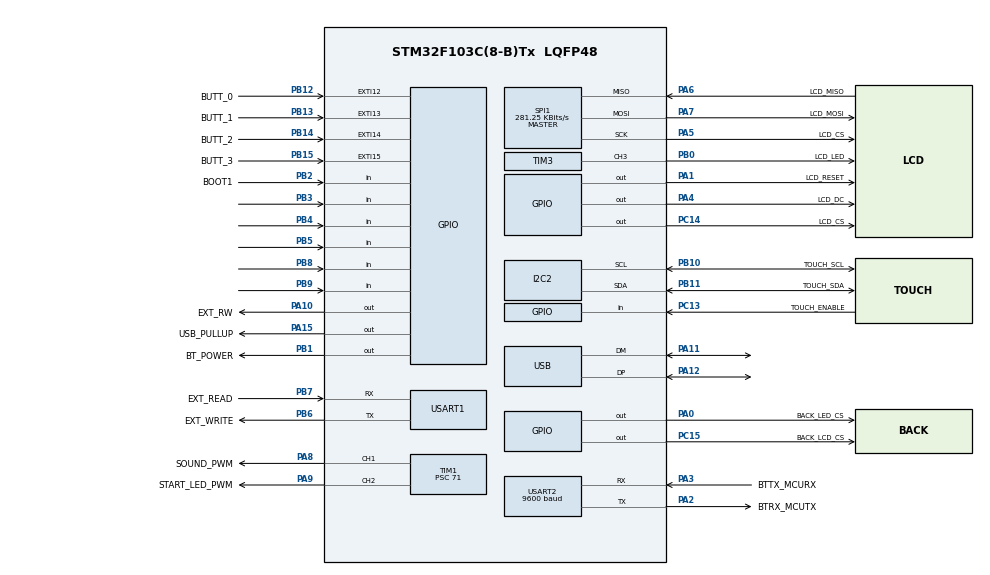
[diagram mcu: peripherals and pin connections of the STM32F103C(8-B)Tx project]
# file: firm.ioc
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Mcu.Family=STM32F1
PA6.Mode=Full_Duplex_Master
USB_DEVICE.CLASS_NAME_FS=CUSTOM_HID
SPI1.VirtualType=VM_MASTER
PB10.Mode=I2C
TIM3.Channel-Output\ Compare3\ CH3=TIM_CHANNEL_3
PB14.GPIO_Label=BUTT_2
VP_USB_DEVICE_VS_USB_DEVICE_CUSTOM_HID_FS.Mode=CUSTOM_HID_FS
PA11.Mode=Device
PA6.GPIO_Label=LCD_MISO
PB0.GPIO_Label=LCD_LED
PB6.GPIO_Label=EXT_WRITE
TIM1.Pulse-PWM\ Generation1\ CH1=499
PB13.GPIO_Label=BUTT_1
PB11.Signal=I2C2_SDA
PB13.Signal=GPXTI13
PB15.Signal=GPXTI15
PC15-OSC32_OUT.GPIO_Label=BACK_LCD_CS
RCC.SYSCLKSource=RCC_SYSCLKSOURCE_PLLCLK
ProjectManager.StackSize=0x400
PD1-OSC_OUT.Signal=RCC_OSC_OUT
USB_DEVICE.MANUFACTURER_STRING=DiMomite
PA15.GPIO_Label=USB_PULLUP
PA12.Signal=USB_DP
TIM1.Prescaler=71
USB_DEVICE.PID_CUSTOMHID_FS=0x5750
SPI1.Direction=SPI_DIRECTION_2LINES
PB1.GPIO_PuPd=GPIO_PULLUP
RCC.HCLKFreq_Value=72000000
RCC.APB2TimFreq_Value=72000000
TIM3.Period=3124
PB6.Signal=USART1_TX
PB6.Mode=Asynchronous
SPI1.CalculateBaudRate=281.25 KBits/s
RCC.AHBFreq_Value=72000000
NVIC.EXTI15_10_IRQn=true\:1\:0\:true\:false\:true\:true\:true
USB_DEVICE.PRODUCT_STRING_CUSTOMHID_FS=BR Button System
PB2.Signal=GPIO_Input
RCC.PLLMUL=RCC_PLL_MUL9
PB12.GPIO_Label=BUTT_0
PB3.GPIO_PuPd=GPIO_PULLUP
USB_DEVICE.USBD_SELF_POWERED=0
TIM1.Channel-PWM\ Generation1\ CH1=TIM_CHANNEL_1
PA14.Mode=Serial_Wire
TIM3.Prescaler=179
PB1.GPIO_Label=BT_POWER
PA10.GPIO_Label=EXT_RW
PB7.Signal=USART1_RX
PA8.Signal=S_TIM1_CH1
USB_DEVICE.CONFIGURATION_STRING_CUSTOMHID_FS=br main cfg
PA15.GPIO_ModeDefaultOutputPP=GPIO_MODE_OUTPUT_OD
PB2.GPIO_PuPd=GPIO_PULLUP
VP_TIM1_VS_ClockSourceINT.Mode=Internal
PB7.GPIO_Label=EXT_READ
Mcu.Package=LQFP48
PB9.Signal=GPIO_Input
PB14.GPIO_PuPd=GPIO_PULLUP
PB1.Signal=GPIO_Output
PA6.Signal=SPI1_MISO
PB15.GPIO_PuPd=GPIO_PULLUP
TIM1.Pulse-PWM\ Generation2\ CH2=300
USART2.VirtualMode=VM_ASYNC
PA2.GPIO_Label=BTRX_MCUTX
PA10.Signal=GPIO_Output
PB9.GPIO_PuPd=GPIO_PULLUP
PA15.Signal=GPIO_Output
RCC.APB1TimFreq_Value=72000000
PC14-OSC32_IN.GPIO_Label=LCD_CS
USB_DEVICE.USBD_CUSTOMHID_OUTREPORT_BUF_SIZE=64
TIM1.Period=999
SPI1.BaudRatePrescaler=SPI_BAUDRATEPRESCALER_256
PA4.GPIO_Label=LCD_DC
PB4.Signal=GPIO_Input
PA3.Signal=USART2_RX
PA5.Mode=Full_Duplex_Master
PB14.GPIO_ModeDefaultEXTI=GPIO_MODE_IT_FALLING
USB_DEVICE.CUSTOM_HID_FS_BINTERVAL=20
PA7.Mode=Full_Duplex_Master
PD1-OSC_OUT.Mode=HSE-External-Oscillator
USB_DEVICE.INTERFACE_STRING_CUSTOMHID_FS=br main if
USB_DEVICE.USBD_CUSTOM_HID_REPORT_DESC_SIZE=29
USB_DEVICE.VirtualModeFS=Custom_Hid_FS
PA9.GPIO_Label=START_LED_PWM
PB8.GPIO_PuPd=GPIO_PULLUP
PB11.GPIO_Label=TOUCH_SDA
PC13-TAMPER-RTC.Signal=GPIO_Input
RCC.USBPrescaler=RCC_USBCLKSOURCE_PLL_DIV1_5
PD0-OSC_IN.Signal=RCC_OSC_IN
RCC.APB1CLKDivider=RCC_HCLK_DIV2
PC14-OSC32_IN.Signal=GPIO_Output
SH.S_TIM3_CH3.0=TIM3_CH3,Output Compare3 CH3
PB13.GPIO_ModeDefaultEXTI=GPIO_MODE_IT_FALLING
NVIC.USART2_IRQn=true\:0\:0\:false\:false\:true\:true\:true
USART2.BaudRate=9600
PA0-WKUP.GPIO_Label=BACK_LED_CS
PA0-WKUP.Signal=GPIO_Output
PA3.Mode=Asynchronous
PA13.Signal=SYS_JTMS-SWDIO
PA8.GPIO_Label=SOUND_PWM
SH.S_TIM1_CH1.0=TIM1_CH1,PWM Generation1 CH1
PB11.Mode=I2C
USB_DEVICE.VID=0x483
ProjectManager.TargetToolchain=Makefile
PB10.GPIO_Label=TOUCH_SCL
PA9.Signal=S_TIM1_CH2
TIM1.Channel-PWM\ Generation2\ CH2=TIM_CHANNEL_2
PB4.GPIO_PuPd=GPIO_PULLUP
RCC.USBFreq_Value=48000000
PC15-OSC32_OUT.Signal=GPIO_Output
PA1.Signal=GPIO_Output
PD0-OSC_IN.Mode=HSE-External-Oscillator
PB10.Signal=I2C2_SCL
PB14.Signal=GPXTI14
PA5.Signal=SPI1_SCK
PB15.GPIO_ModeDefaultEXTI=GPIO_MODE_IT_FALLING
board=custom
PC13-TAMPER-RTC.GPIO_Label=TOUCH_ENABLE
NVIC.TIM3_IRQn=true\:0\:0\:false\:false\:true\:true\:true
PB13.GPIO_PuPd=GPIO_PULLUP
RCC.APB2Freq_Value=72000000
PB15.GPIO_Label=BUTT_3
SH.S_TIM1_CH2.0=TIM1_CH2,PWM Generation2 CH2
TIM3.OCMode_3=TIM_OCMODE_ACTIVE
SPI1.Mode=SPI_MODE_MASTER
NVIC.USB_LP_CAN1_RX0_IRQn=true\:0\:0\:false\:false\:true\:false\:true
PA1.GPIO_Label=LCD_RESET
PA13.Mode=Serial_Wire
Mcu.Name=STM32F103C(8-B)Tx
PA2.Signal=USART2_TX
PB3.Signal=GPIO_Input
PA4.Signal=GPIO_Output
RCC.SYSCLKFreq_VALUE=72000000
PB5.Signal=GPIO_Input
PA7.GPIO_Label=LCD_MOSI
PA12.Mode=Device
PA5.GPIO_Label=LCD_CS
PB5.GPIO_PuPd=GPIO_PULLUP
USART1.VirtualMode=VM_ASYNC
PA11.Signal=USB_DM
PB7.Mode=Asynchronous
PA14.Signal=SYS_JTCK-SWCLK
PB2.GPIO_Label=BOOT1
ProjectManager.HeapSize=0x200
PB12.GPIO_ModeDefaultEXTI=GPIO_MODE_IT_FALLING
NVIC.PriorityGroup=NVIC_PRIORITYGROUP_4
PA15.GPIO_PuPd=GPIO_PULLUP
PA2.Mode=Asynchronous
PB8.Signal=GPIO_Input
PB1.GPIO_ModeDefaultOutputPP=GPIO_MODE_OUTPUT_OD
TIM3.TIM_MasterOutputTrigger=TIM_TRGO_RESET
PB12.GPIO_PuPd=GPIO_PULLUP
RCC.APB1Freq_Value=36000000
PB0.Signal=S_TIM3_CH3
USB_DEVICE.VirtualMode=CustomHid
PB12.Signal=GPXTI12
PA3.GPIO_Label=BTTX_MCURX
PA7.Signal=SPI1_MOSI

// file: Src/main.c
/* USER CODE BEGIN Header */
/**
  ******************************************************************************
  * @file           : main.c
  * @brief          : Main program body
  ******************************************************************************
  * @attention
  *
  * <h2><center>&copy; Copyright (c) 2020 STMicroelectronics.
  * All rights reserved.</center></h2>
  *
  * This software component is licensed by ST under Ultimate Liberty license
  * SLA0044, the "License"; You may not use this file except in compliance with
  * the License. You may obtain a copy of the License at:
  *                             www.st.com/SLA0044
  *
  ******************************************************************************
  */
/* USER CODE END Header */

#include "main.h"
#include "usb_device.h"

/* USER CODE BEGIN Includes */
#include "DAL/MainEventLoop.h"
#include "DAL/TouchControlsCtrl.h"

#include "Comm/ConnectionCtrl.h"
#include "Comm/Protocol.h"

/* USER CODE END Includes */

/* USER CODE BEGIN PV */
BtCtrl_t btCtrlInstance;
ButtonsCtrl_t buttonsCtrlInstance;
DisplayCtrl_t displayCtrlInstance;
EntertainmentCtrl_t entCtrlInstance;
PlayersIndicatorCtrl_t playersIndicatorCtrlInstance;
PreciseTimer_t preciseTimerInstance;
TouchControlsCtrl_t touchControlsCtrlInstance;
UsbCtrl_t usbCtrlInstance;

MainEventLoop_t mainEventLoopInstance = {
    .btCtrl = &btCtrlInstance,
    .buttonsCtrl = &buttonsCtrlInstance,
    .displayCtrl = &displayCtrlInstance,
    .entCtrl = &entCtrlInstance,
    .playersIndicatorCtrl = &playersIndicatorCtrlInstance,
    .preciseTimer = &preciseTimerInstance,
    .touchControlsCtrl = &touchControlsCtrlInstance,
    .usbCtrl = &usbCtrlInstance,
}; // main singleton

ConnectionCtrl_t connCtrlInstance;

/* USER CODE END PV */

void SystemClock_Config(void);
static void MX_GPIO_Init(void);
static void MX_I2C2_Init(void);
static void MX_SPI1_Init(void);
static void MX_TIM1_Init(void);
static void MX_USART1_UART_Init(void);
static void MX_USART2_UART_Init(void);
static void MX_TIM3_Init(void);

static void dataHandler(int8_t* data) {};

int main(void)
{

  /* MCU Configuration--------------------------------------------------------*/

  /* Reset of all peripherals, Initializes the Flash interface and the Systick. */
  HAL_Init();

  /* Configure the system clock */
  SystemClock_Config();

  /* Initialize all configured peripherals */
  MX_GPIO_Init();
  MX_I2C2_Init();
  MX_SPI1_Init();
  MX_TIM1_Init();
  MX_USART1_UART_Init();
  MX_USART2_UART_Init();
  MX_USB_DEVICE_Init();
  MX_TIM3_Init();

  /* Infinite loop */
  /* USER CODE BEGIN WHILE */
  LL_TIM_EnableCounter(TIM1);
  LL_TIM_EnableAutomaticOutput(TIM1); // very important line, spent 2 hours on it

  LL_SPI_Enable(SPI1);
  LL_TIM_EnableCounter(TIM3);
  LL_TIM_EnableIT_UPDATE(TIM3);

  __enable_irq();

  mainEventLoop_init(&mainEventLoopInstance);
  usbctrl_connect(&usbCtrlInstance);
  btctrl_connect(&btCtrlInstance);

  display_init(&displayCtrlInstance);
  display_clearAll(&displayCtrlInstance);

  conn_initConnectionCtrl(&connCtrlInstance, &btCtrlInstance, dataHandler);

  mainEventLoop_run(&mainEventLoopInstance);

  while (1)
  {
    /* USER CODE END WHILE */

  }
}

void SystemClock_Config(void)
{
  LL_FLASH_SetLatency(LL_FLASH_LATENCY_2);

   if(LL_FLASH_GetLatency() != LL_FLASH_LATENCY_2)
  {
    Error_Handler();
  }
  LL_RCC_HSE_Enable();

   /* Wait till HSE is ready */
  while(LL_RCC_HSE_IsReady() != 1)
  {

  }
  LL_RCC_PLL_ConfigDomain_SYS(LL_RCC_PLLSOURCE_HSE_DIV_1, LL_RCC_PLL_MUL_9);
  LL_RCC_PLL_Enable();

   /* Wait till PLL is ready */
  while(LL_RCC_PLL_IsReady() != 1)
  {

  }
  LL_RCC_SetAHBPrescaler(LL_RCC_SYSCLK_DIV_1);
  LL_RCC_SetAPB1Prescaler(LL_RCC_APB1_DIV_2);
  LL_RCC_SetAPB2Prescaler(LL_RCC_APB2_DIV_1);
  LL_RCC_SetSysClkSource(LL_RCC_SYS_CLKSOURCE_PLL);

   /* Wait till System clock is ready */
  while(LL_RCC_GetSysClkSource() != LL_RCC_SYS_CLKSOURCE_STATUS_PLL)
  {

  }
  LL_SetSystemCoreClock(72000000);

   /* Update the time base */
  if (HAL_InitTick (TICK_INT_PRIORITY) != HAL_OK)
  {
    Error_Handler();
  };
  LL_RCC_SetUSBClockSource(LL_RCC_USB_CLKSOURCE_PLL_DIV_1_5);
}

static void MX_I2C2_Init(void)
{

  LL_I2C_InitTypeDef I2C_InitStruct = {0};

  LL_GPIO_InitTypeDef GPIO_InitStruct = {0};

  LL_APB2_GRP1_EnableClock(LL_APB2_GRP1_PERIPH_GPIOB);
  /**I2C2 GPIO Configuration
  PB10   ------> I2C2_SCL
  PB11   ------> I2C2_SDA
  */
  GPIO_InitStruct.Pin = TOUCH_SCL_Pin|TOUCH_SDA_Pin;
  GPIO_InitStruct.Mode = LL_GPIO_MODE_ALTERNATE;
  GPIO_InitStruct.Speed = LL_GPIO_SPEED_FREQ_HIGH;
  GPIO_InitStruct.OutputType = LL_GPIO_OUTPUT_OPENDRAIN;
  LL_GPIO_Init(GPIOB, &GPIO_InitStruct);

  /* Peripheral clock enable */
  LL_APB1_GRP1_EnableClock(LL_APB1_GRP1_PERIPH_I2C2);

  /** I2C Initialization
  */
  LL_I2C_DisableOwnAddress2(I2C2);
  LL_I2C_DisableGeneralCall(I2C2);
  LL_I2C_EnableClockStretching(I2C2);
  I2C_InitStruct.PeripheralMode = LL_I2C_MODE_I2C;
  I2C_InitStruct.ClockSpeed = 100000;
  I2C_InitStruct.DutyCycle = LL_I2C_DUTYCYCLE_2;
  I2C_InitStruct.OwnAddress1 = 0;
  I2C_InitStruct.TypeAcknowledge = LL_I2C_ACK;
  I2C_InitStruct.OwnAddrSize = LL_I2C_OWNADDRESS1_7BIT;
  LL_I2C_Init(I2C2, &I2C_InitStruct);
  LL_I2C_SetOwnAddress2(I2C2, 0);

}

static void MX_SPI1_Init(void)
{

  LL_SPI_InitTypeDef SPI_InitStruct = {0};

  LL_GPIO_InitTypeDef GPIO_InitStruct = {0};

  /* Peripheral clock enable */
  LL_APB2_GRP1_EnableClock(LL_APB2_GRP1_PERIPH_SPI1);

  LL_APB2_GRP1_EnableClock(LL_APB2_GRP1_PERIPH_GPIOA);
  /**SPI1 GPIO Configuration
  PA5   ------> SPI1_SCK
  PA6   ------> SPI1_MISO
  PA7   ------> SPI1_MOSI
  */
  GPIO_InitStruct.Pin = LCD_CSA5_Pin|LCD_MOSI_Pin;
  GPIO_InitStruct.Mode = LL_GPIO_MODE_ALTERNATE;
  GPIO_InitStruct.Speed = LL_GPIO_SPEED_FREQ_HIGH;
  GPIO_InitStruct.OutputType = LL_GPIO_OUTPUT_PUSHPULL;
  LL_GPIO_Init(GPIOA, &GPIO_InitStruct);

  GPIO_InitStruct.Pin = LCD_MISO_Pin;
  GPIO_InitStruct.Mode = LL_GPIO_MODE_FLOATING;
  LL_GPIO_Init(LCD_MISO_GPIO_Port, &GPIO_InitStruct);

  /* SPI1 parameter configuration*/
  SPI_InitStruct.TransferDirection = LL_SPI_FULL_DUPLEX;
  SPI_InitStruct.Mode = LL_SPI_MODE_MASTER;
  SPI_InitStruct.DataWidth = LL_SPI_DATAWIDTH_8BIT;
  SPI_InitStruct.ClockPolarity = LL_SPI_POLARITY_LOW;
  SPI_InitStruct.ClockPhase = LL_SPI_PHASE_1EDGE;
  SPI_InitStruct.NSS = LL_SPI_NSS_SOFT;
  SPI_InitStruct.BaudRate = LL_SPI_BAUDRATEPRESCALER_DIV256;
  SPI_InitStruct.BitOrder = LL_SPI_MSB_FIRST;
  SPI_InitStruct.CRCCalculation = LL_SPI_CRCCALCULATION_DISABLE;
  SPI_InitStruct.CRCPoly = 10;
  LL_SPI_Init(SPI1, &SPI_InitStruct);

}

static void MX_TIM1_Init(void)
{

  LL_TIM_InitTypeDef TIM_InitStruct = {0};
  LL_TIM_OC_InitTypeDef TIM_OC_InitStruct = {0};
  LL_TIM_BDTR_InitTypeDef TIM_BDTRInitStruct = {0};

  LL_GPIO_InitTypeDef GPIO_InitStruct = {0};

  /* Peripheral clock enable */
  LL_APB2_GRP1_EnableClock(LL_APB2_GRP1_PERIPH_TIM1);

  TIM_InitStruct.Prescaler = 71;
  TIM_InitStruct.CounterMode = LL_TIM_COUNTERMODE_UP;
  TIM_InitStruct.Autoreload = 999;
  TIM_InitStruct.ClockDivision = LL_TIM_CLOCKDIVISION_DIV1;
  TIM_InitStruct.RepetitionCounter = 0;
  LL_TIM_Init(TIM1, &TIM_InitStruct);
  LL_TIM_DisableARRPreload(TIM1);
  LL_TIM_SetClockSource(TIM1, LL_TIM_CLOCKSOURCE_INTERNAL);
  LL_TIM_OC_EnablePreload(TIM1, LL_TIM_CHANNEL_CH1);
  TIM_OC_InitStruct.OCMode = LL_TIM_OCMODE_PWM1;
  TIM_OC_InitStruct.OCState = LL_TIM_OCSTATE_DISABLE;
  TIM_OC_InitStruct.OCNState = LL_TIM_OCSTATE_DISABLE;
  TIM_OC_InitStruct.CompareValue = 499;
  TIM_OC_InitStruct.OCPolarity = LL_TIM_OCPOLARITY_HIGH;
  TIM_OC_InitStruct.OCNPolarity = LL_TIM_OCPOLARITY_HIGH;
  TIM_OC_InitStruct.OCIdleState = LL_TIM_OCIDLESTATE_LOW;
  TIM_OC_InitStruct.OCNIdleState = LL_TIM_OCIDLESTATE_LOW;
  LL_TIM_OC_Init(TIM1, LL_TIM_CHANNEL_CH1, &TIM_OC_InitStruct);
  LL_TIM_OC_DisableFast(TIM1, LL_TIM_CHANNEL_CH1);
  LL_TIM_OC_EnablePreload(TIM1, LL_TIM_CHANNEL_CH2);
  TIM_OC_InitStruct.OCState = LL_TIM_OCSTATE_DISABLE;
  TIM_OC_InitStruct.OCNState = LL_TIM_OCSTATE_DISABLE;
  TIM_OC_InitStruct.CompareValue = 300;
  LL_TIM_OC_Init(TIM1, LL_TIM_CHANNEL_CH2, &TIM_OC_InitStruct);
  LL_TIM_OC_DisableFast(TIM1, LL_TIM_CHANNEL_CH2);
  LL_TIM_SetTriggerOutput(TIM1, LL_TIM_TRGO_RESET);
  LL_TIM_DisableMasterSlaveMode(TIM1);
  TIM_BDTRInitStruct.OSSRState = LL_TIM_OSSR_DISABLE;
  TIM_BDTRInitStruct.OSSIState = LL_TIM_OSSI_DISABLE;
  TIM_BDTRInitStruct.LockLevel = LL_TIM_LOCKLEVEL_OFF;
  TIM_BDTRInitStruct.DeadTime = 0;
  TIM_BDTRInitStruct.BreakState = LL_TIM_BREAK_DISABLE;
  TIM_BDTRInitStruct.BreakPolarity = LL_TIM_BREAK_POLARITY_HIGH;
  TIM_BDTRInitStruct.AutomaticOutput = LL_TIM_AUTOMATICOUTPUT_DISABLE;
  LL_TIM_BDTR_Init(TIM1, &TIM_BDTRInitStruct);
  LL_APB2_GRP1_EnableClock(LL_APB2_GRP1_PERIPH_GPIOA);
  /**TIM1 GPIO Configuration
  PA8   ------> TIM1_CH1
  PA9   ------> TIM1_CH2
  */
  GPIO_InitStruct.Pin = SOUND_PWM_Pin|START_LED_PWM_Pin;
  GPIO_InitStruct.Mode = LL_GPIO_MODE_ALTERNATE;
  GPIO_InitStruct.Speed = LL_GPIO_SPEED_FREQ_LOW;
  GPIO_InitStruct.OutputType = LL_GPIO_OUTPUT_PUSHPULL;
  LL_GPIO_Init(GPIOA, &GPIO_InitStruct);

}

static void MX_TIM3_Init(void)
{

  LL_TIM_InitTypeDef TIM_InitStruct = {0};
  LL_TIM_OC_InitTypeDef TIM_OC_InitStruct = {0};

  LL_GPIO_InitTypeDef GPIO_InitStruct = {0};

  /* Peripheral clock enable */
  LL_APB1_GRP1_EnableClock(LL_APB1_GRP1_PERIPH_TIM3);

  /* TIM3 interrupt Init */
  NVIC_SetPriority(TIM3_IRQn, NVIC_EncodePriority(NVIC_GetPriorityGrouping(),0, 0));
  NVIC_EnableIRQ(TIM3_IRQn);

  TIM_InitStruct.Prescaler = 179;
  TIM_InitStruct.CounterMode = LL_TIM_COUNTERMODE_UP;
  TIM_InitStruct.Autoreload = 3124;
  TIM_InitStruct.ClockDivision = LL_TIM_CLOCKDIVISION_DIV1;
  LL_TIM_Init(TIM3, &TIM_InitStruct);
  LL_TIM_DisableARRPreload(TIM3);
  TIM_OC_InitStruct.OCMode = LL_TIM_OCMODE_ACTIVE;
  TIM_OC_InitStruct.OCState = LL_TIM_OCSTATE_DISABLE;
  TIM_OC_InitStruct.OCNState = LL_TIM_OCSTATE_DISABLE;
  TIM_OC_InitStruct.CompareValue = 0;
  TIM_OC_InitStruct.OCPolarity = LL_TIM_OCPOLARITY_HIGH;
  LL_TIM_OC_Init(TIM3, LL_TIM_CHANNEL_CH3, &TIM_OC_InitStruct);
  LL_TIM_OC_DisableFast(TIM3, LL_TIM_CHANNEL_CH3);
  LL_TIM_SetTriggerOutput(TIM3, LL_TIM_TRGO_RESET);
  LL_TIM_DisableMasterSlaveMode(TIM3);
  LL_APB2_GRP1_EnableClock(LL_APB2_GRP1_PERIPH_GPIOB);
  /**TIM3 GPIO Configuration
  PB0   ------> TIM3_CH3
  */
  GPIO_InitStruct.Pin = LCD_LED_Pin;
  GPIO_InitStruct.Mode = LL_GPIO_MODE_ALTERNATE;
  GPIO_InitStruct.Speed = LL_GPIO_SPEED_FREQ_LOW;
  GPIO_InitStruct.OutputType = LL_GPIO_OUTPUT_PUSHPULL;
  LL_GPIO_Init(LCD_LED_GPIO_Port, &GPIO_InitStruct);

}

static void MX_USART1_UART_Init(void)
{

  LL_USART_InitTypeDef USART_InitStruct = {0};

  LL_GPIO_InitTypeDef GPIO_InitStruct = {0};

  /* Peripheral clock enable */
  LL_APB2_GRP1_EnableClock(LL_APB2_GRP1_PERIPH_USART1);

  LL_APB2_GRP1_EnableClock(LL_APB2_GRP1_PERIPH_GPIOB);
  /**USART1 GPIO Configuration
  PB6   ------> USART1_TX
  PB7   ------> USART1_RX
  */
  GPIO_InitStruct.Pin = EXT_WRITE_Pin;
  GPIO_InitStruct.Mode = LL_GPIO_MODE_ALTERNATE;
  GPIO_InitStruct.Speed = LL_GPIO_SPEED_FREQ_HIGH;
  GPIO_InitStruct.OutputType = LL_GPIO_OUTPUT_PUSHPULL;
  LL_GPIO_Init(EXT_WRITE_GPIO_Port, &GPIO_InitStruct);

  GPIO_InitStruct.Pin = EXT_READ_Pin;
  GPIO_InitStruct.Mode = LL_GPIO_MODE_FLOATING;
  LL_GPIO_Init(EXT_READ_GPIO_Port, &GPIO_InitStruct);

  LL_GPIO_AF_EnableRemap_USART1();

  USART_InitStruct.BaudRate = 115200;
  USART_InitStruct.DataWidth = LL_USART_DATAWIDTH_8B;
  USART_InitStruct.StopBits = LL_USART_STOPBITS_1;
  USART_InitStruct.Parity = LL_USART_PARITY_NONE;
  USART_InitStruct.TransferDirection = LL_USART_DIRECTION_TX_RX;
  USART_InitStruct.HardwareFlowControl = LL_USART_HWCONTROL_NONE;
  USART_InitStruct.OverSampling = LL_USART_OVERSAMPLING_16;
  LL_USART_Init(USART1, &USART_InitStruct);
  LL_USART_ConfigAsyncMode(USART1);
  LL_USART_Enable(USART1);

}

static void MX_USART2_UART_Init(void)
{

  LL_USART_InitTypeDef USART_InitStruct = {0};

  LL_GPIO_InitTypeDef GPIO_InitStruct = {0};

  /* Peripheral clock enable */
  LL_APB1_GRP1_EnableClock(LL_APB1_GRP1_PERIPH_USART2);

  LL_APB2_GRP1_EnableClock(LL_APB2_GRP1_PERIPH_GPIOA);
  /**USART2 GPIO Configuration
  PA2   ------> USART2_TX
  PA3   ------> USART2_RX
  */
  GPIO_InitStruct.Pin = BTRX_MCUTX_Pin;
  GPIO_InitStruct.Mode = LL_GPIO_MODE_ALTERNATE;
  GPIO_InitStruct.Speed = LL_GPIO_SPEED_FREQ_HIGH;
  GPIO_InitStruct.OutputType = LL_GPIO_OUTPUT_PUSHPULL;
  LL_GPIO_Init(BTRX_MCUTX_GPIO_Port, &GPIO_InitStruct);

  GPIO_InitStruct.Pin = BTTX_MCURX_Pin;
  GPIO_InitStruct.Mode = LL_GPIO_MODE_FLOATING;
  LL_GPIO_Init(BTTX_MCURX_GPIO_Port, &GPIO_InitStruct);

  /* USART2 interrupt Init */
  NVIC_SetPriority(USART2_IRQn, NVIC_EncodePriority(NVIC_GetPriorityGrouping(),0, 0));
  NVIC_EnableIRQ(USART2_IRQn);

  USART_InitStruct.BaudRate = 9600;
  USART_InitStruct.DataWidth = LL_USART_DATAWIDTH_8B;
  USART_InitStruct.StopBits = LL_USART_STOPBITS_1;
  USART_InitStruct.Parity = LL_USART_PARITY_NONE;
  USART_InitStruct.TransferDirection = LL_USART_DIRECTION_TX_RX;
  USART_InitStruct.HardwareFlowControl = LL_USART_HWCONTROL_NONE;
  USART_InitStruct.OverSampling = LL_USART_OVERSAMPLING_16;
  LL_USART_Init(USART2, &USART_InitStruct);
  LL_USART_ConfigAsyncMode(USART2);
  LL_USART_Enable(USART2);

}

static void MX_GPIO_Init(void)
{
  LL_EXTI_InitTypeDef EXTI_InitStruct = {0};
  LL_GPIO_InitTypeDef GPIO_InitStruct = {0};

  /* GPIO Ports Clock Enable */
  LL_APB2_GRP1_EnableClock(LL_APB2_GRP1_PERIPH_GPIOC);
  LL_APB2_GRP1_EnableClock(LL_APB2_GRP1_PERIPH_GPIOD);
  LL_APB2_GRP1_EnableClock(LL_APB2_GRP1_PERIPH_GPIOA);
  LL_APB2_GRP1_EnableClock(LL_APB2_GRP1_PERIPH_GPIOB);

  /**/
  LL_GPIO_ResetOutputPin(GPIOC, LCD_CS_Pin|BACK_LCD_CS_Pin);

  /**/
  LL_GPIO_ResetOutputPin(GPIOA, BACK_LED_CS_Pin|LCD_RESET_Pin|LCD_DC_Pin|EXT_RW_Pin
                          |USB_PULLUP_Pin);

  /**/
  LL_GPIO_ResetOutputPin(BT_POWER_GPIO_Port, BT_POWER_Pin);

  /**/
  GPIO_InitStruct.Pin = TOUCH_ENABLE_Pin;
  GPIO_InitStruct.Mode = LL_GPIO_MODE_FLOATING;
  LL_GPIO_Init(TOUCH_ENABLE_GPIO_Port, &GPIO_InitStruct);

  /**/
  GPIO_InitStruct.Pin = LCD_CS_Pin|BACK_LCD_CS_Pin;
  GPIO_InitStruct.Mode = LL_GPIO_MODE_OUTPUT;
  GPIO_InitStruct.Speed = LL_GPIO_SPEED_FREQ_LOW;
  GPIO_InitStruct.OutputType = LL_GPIO_OUTPUT_PUSHPULL;
  LL_GPIO_Init(GPIOC, &GPIO_InitStruct);

  /**/
  GPIO_InitStruct.Pin = BACK_LED_CS_Pin|LCD_RESET_Pin|LCD_DC_Pin|EXT_RW_Pin;
  GPIO_InitStruct.Mode = LL_GPIO_MODE_OUTPUT;
  GPIO_InitStruct.Speed = LL_GPIO_SPEED_FREQ_LOW;
  GPIO_InitStruct.OutputType = LL_GPIO_OUTPUT_PUSHPULL;
  LL_GPIO_Init(GPIOA, &GPIO_InitStruct);

  /**/
  GPIO_InitStruct.Pin = BT_POWER_Pin;
  GPIO_InitStruct.Mode = LL_GPIO_MODE_OUTPUT;
  GPIO_InitStruct.Speed = LL_GPIO_SPEED_FREQ_LOW;
  GPIO_InitStruct.OutputType = LL_GPIO_OUTPUT_OPENDRAIN;
  GPIO_InitStruct.Pull = LL_GPIO_PULL_UP;
  LL_GPIO_Init(BT_POWER_GPIO_Port, &GPIO_InitStruct);

  /**/
  GPIO_InitStruct.Pin = BOOT1_Pin|LL_GPIO_PIN_3|LL_GPIO_PIN_4|LL_GPIO_PIN_5
                          |LL_GPIO_PIN_8|LL_GPIO_PIN_9;
  GPIO_InitStruct.Mode = LL_GPIO_MODE_INPUT;
  GPIO_InitStruct.Pull = LL_GPIO_PULL_UP;
  LL_GPIO_Init(GPIOB, &GPIO_InitStruct);

  /**/
  GPIO_InitStruct.Pin = USB_PULLUP_Pin;
  GPIO_InitStruct.Mode = LL_GPIO_MODE_OUTPUT;
  GPIO_InitStruct.Speed = LL_GPIO_SPEED_FREQ_LOW;
  GPIO_InitStruct.OutputType = LL_GPIO_OUTPUT_OPENDRAIN;
  GPIO_InitStruct.Pull = LL_GPIO_PULL_UP;
  LL_GPIO_Init(USB_PULLUP_GPIO_Port, &GPIO_InitStruct);

  /**/
  LL_GPIO_AF_SetEXTISource(LL_GPIO_AF_EXTI_PORTB, LL_GPIO_AF_EXTI_LINE12);

  /**/
  LL_GPIO_AF_SetEXTISource(LL_GPIO_AF_EXTI_PORTB, LL_GPIO_AF_EXTI_LINE13);

  /**/
  LL_GPIO_AF_SetEXTISource(LL_GPIO_AF_EXTI_PORTB, LL_GPIO_AF_EXTI_LINE14);

  /**/
  LL_GPIO_AF_SetEXTISource(LL_GPIO_AF_EXTI_PORTB, LL_GPIO_AF_EXTI_LINE15);

  /**/
  EXTI_InitStruct.Line_0_31 = LL_EXTI_LINE_12;
  EXTI_InitStruct.LineCommand = ENABLE;
  EXTI_InitStruct.Mode = LL_EXTI_MODE_IT;
  EXTI_InitStruct.Trigger = LL_EXTI_TRIGGER_FALLING;
  LL_EXTI_Init(&EXTI_InitStruct);

  /**/
  EXTI_InitStruct.Line_0_31 = LL_EXTI_LINE_13;
  EXTI_InitStruct.LineCommand = ENABLE;
  EXTI_InitStruct.Mode = LL_EXTI_MODE_IT;
  EXTI_InitStruct.Trigger = LL_EXTI_TRIGGER_FALLING;
  LL_EXTI_Init(&EXTI_InitStruct);

  /**/
  EXTI_InitStruct.Line_0_31 = LL_EXTI_LINE_14;
  EXTI_InitStruct.LineCommand = ENABLE;
  EXTI_InitStruct.Mode = LL_EXTI_MODE_IT;
  EXTI_InitStruct.Trigger = LL_EXTI_TRIGGER_FALLING;
  LL_EXTI_Init(&EXTI_InitStruct);

  /**/
  EXTI_InitStruct.Line_0_31 = LL_EXTI_LINE_15;
  EXTI_InitStruct.LineCommand = ENABLE;
  EXTI_InitStruct.Mode = LL_EXTI_MODE_IT;
  EXTI_InitStruct.Trigger = LL_EXTI_TRIGGER_FALLING;
  LL_EXTI_Init(&EXTI_InitStruct);

  /**/
  LL_GPIO_SetPinPull(BUTT_0_GPIO_Port, BUTT_0_Pin, LL_GPIO_PULL_UP);

  /**/
  LL_GPIO_SetPinPull(BUTT_1_GPIO_Port, BUTT_1_Pin, LL_GPIO_PULL_UP);

  /**/
  LL_GPIO_SetPinPull(BUTT_2_GPIO_Port, BUTT_2_Pin, LL_GPIO_PULL_UP);

  /**/
  LL_GPIO_SetPinPull(BUTT_3_GPIO_Port, BUTT_3_Pin, LL_GPIO_PULL_UP);

  /**/
  LL_GPIO_SetPinMode(BUTT_0_GPIO_Port, BUTT_0_Pin, LL_GPIO_MODE_INPUT);

  /**/
  LL_GPIO_SetPinMode(BUTT_1_GPIO_Port, BUTT_1_Pin, LL_GPIO_MODE_INPUT);

  /**/
  LL_GPIO_SetPinMode(BUTT_2_GPIO_Port, BUTT_2_Pin, LL_GPIO_MODE_INPUT);

  /**/
  LL_GPIO_SetPinMode(BUTT_3_GPIO_Port, BUTT_3_Pin, LL_GPIO_MODE_INPUT);

  /* EXTI interrupt init*/
  NVIC_SetPriority(EXTI15_10_IRQn, NVIC_EncodePriority(NVIC_GetPriorityGrouping(),1, 0));
  NVIC_EnableIRQ(EXTI15_10_IRQn);

}

void Error_Handler(void)
{
}

/************************ (C) COPYRIGHT STMicroelectronics *****END OF FILE****/
